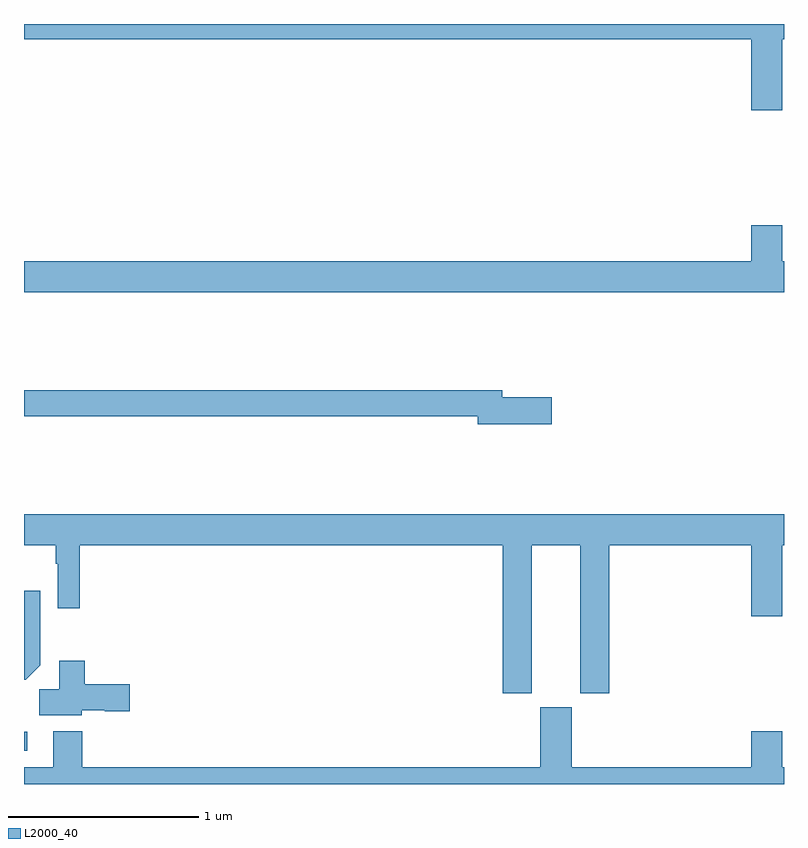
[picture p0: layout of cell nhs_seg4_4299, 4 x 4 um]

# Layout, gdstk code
import gdstk
lib = gdstk.Library(unit=1e-6, precision=1e-09)
def R(c, l, rs):  # rectangles x0, y0, x1, y1
    for r in rs: c.add(gdstk.rectangle(r[:2], r[2:], *l))
def P(c, l, *ps):  # polygons
    for p in ps: c.add(gdstk.Polygon(p, *l))
L2000_40 = (2000, 40)

nhs_seg4_4299 = lib.new_cell('nhs_seg4_4299')
R(nhs_seg4_4299, L2000_40, [(341,793.074,341.017,793.176)])
P(nhs_seg4_4299, L2000_40, [(344.992,796.82),(345,796.82),(345,796.9),(341,796.9),(341,796.82),(344.828,796.82),(344.828,796.446),(344.992,796.446)],
  [(345,795.652),(344.992,795.652),(344.992,795.841),(344.828,795.841),(344.828,795.652),(341,795.652),(341,795.488),(345,795.488)],
  [(343.777,794.936),(343.516,794.936),(343.516,794.972),(341,794.972),(341,794.836),(343.388,794.836),(343.388,794.794),(343.777,794.794)],
  [(343.672,794.156),(343.928,794.156),(343.928,793.377),(344.081,793.377),(344.081,794.156),(344.828,794.156),(344.828,793.782),(344.992,793.782),(344.992,794.156),(345,794.156),(345,794.32),(341,794.32),(341,794.156),(341.166,794.156),(341.166,794.06),(341.178,794.06),(341.178,793.824),(341.294,793.824),(341.294,794.156),(343.52,794.156),(343.52,793.377),(343.672,793.377)],
  [(341.086,793.526),(341.086,793.918),(341,793.918),(341,793.448),(341.008,793.448)],
  [(341.304,793.289),(341.424,793.289),(341.424,793.282),(341.557,793.282),(341.557,793.424),(341.321,793.424),(341.321,793.549),(341.186,793.549),(341.186,793.4),(341.081,793.4),(341.081,793.262),(341.304,793.262)],
  [(345,792.988),(344.992,792.988),(344.992,793.177),(344.828,793.177),(344.828,792.988),(343.882,792.988),(343.882,793.305),(343.718,793.305),(343.718,792.988),(341.306,792.988),(341.306,793.177),(341.153,793.177),(341.153,792.988),(341,792.988),(341,792.9),(345,792.9)])

lib.write_gds('nhs_seg4_4299.gds')
